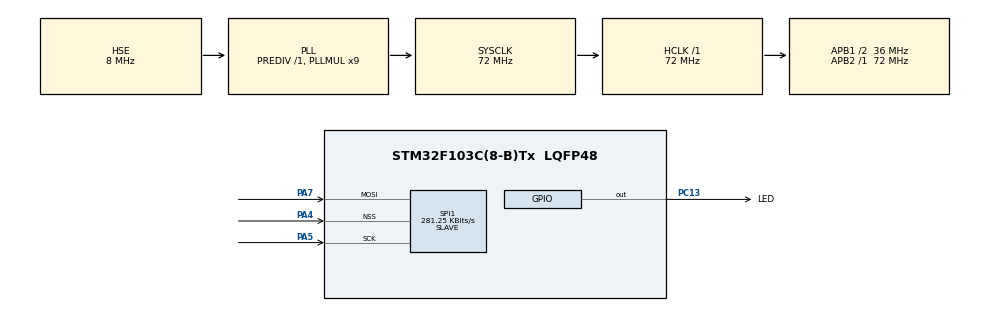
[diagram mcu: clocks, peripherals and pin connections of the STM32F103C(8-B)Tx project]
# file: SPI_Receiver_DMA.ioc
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Dma.Request0=SPI1_RX
Dma.SPI1_RX.0.Direction=DMA_PERIPH_TO_MEMORY
Dma.SPI1_RX.0.Instance=DMA1_Channel2
Dma.SPI1_RX.0.MemDataAlignment=DMA_MDATAALIGN_BYTE
Dma.SPI1_RX.0.MemInc=DMA_MINC_ENABLE
Dma.SPI1_RX.0.Mode=DMA_NORMAL
Dma.SPI1_RX.0.PeriphDataAlignment=DMA_PDATAALIGN_BYTE
Dma.SPI1_RX.0.PeriphInc=DMA_PINC_DISABLE
Dma.SPI1_RX.0.Priority=DMA_PRIORITY_LOW
Mcu.Family=STM32F1
Mcu.Name=STM32F103C(8-B)Tx
Mcu.Package=LQFP48
NVIC.DMA1_Channel2_IRQn=true\:0\:0\:false\:false\:true\:false\:true
NVIC.PriorityGroup=NVIC_PRIORITYGROUP_4
PA13.Mode=Serial_Wire
PA13.Signal=SYS_JTMS-SWDIO
PA14.Mode=Serial_Wire
PA14.Signal=SYS_JTCK-SWCLK
PA4.Mode=NSS_Signal_Hard_Input
PA4.Signal=SPI1_NSS
PA5.Mode=RX_Only_Simplex_Unidirect_Slave
PA5.Signal=SPI1_SCK
PA7.Mode=RX_Only_Simplex_Unidirect_Slave
PA7.Signal=SPI1_MOSI
PC13-TAMPER-RTC.GPIO_Label=LED
PC13-TAMPER-RTC.Signal=GPIO_Output
PD0-OSC_IN.Mode=HSE-External-Oscillator
PD0-OSC_IN.Signal=RCC_OSC_IN
PD1-OSC_OUT.Mode=HSE-External-Oscillator
PD1-OSC_OUT.Signal=RCC_OSC_OUT
ProjectManager.HeapSize=0x200
ProjectManager.StackSize=0x400
ProjectManager.TargetToolchain=STM32CubeIDE
RCC.AHBFreq_Value=72000000
RCC.APB1CLKDivider=RCC_HCLK_DIV2
RCC.APB1Freq_Value=36000000
RCC.APB1TimFreq_Value=72000000
RCC.APB2Freq_Value=72000000
RCC.APB2TimFreq_Value=72000000
RCC.HCLKFreq_Value=72000000
RCC.PLLMUL=RCC_PLL_MUL9
RCC.PLLSourceVirtual=RCC_PLLSOURCE_HSE
RCC.SYSCLKFreq_VALUE=72000000
RCC.SYSCLKSource=RCC_SYSCLKSOURCE_PLLCLK
RCC.USBFreq_Value=72000000
SPI1.BaudRatePrescaler=SPI_BAUDRATEPRESCALER_256
SPI1.CalculateBaudRate=281.25 KBits/s
SPI1.Direction=SPI_DIRECTION_2LINES_RXONLY
SPI1.Mode=SPI_MODE_SLAVE
SPI1.VirtualNSS=VM_NSSHARD
SPI1.VirtualType=VM_SLAVE
board=custom

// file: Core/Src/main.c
/* USER CODE BEGIN Header */
/**
  ******************************************************************************
  * @file           : main.c
  * @brief          : Main program body
  ******************************************************************************
  * @attention
  *
  * <h2><center>&copy; Copyright (c) 2021 STMicroelectronics.
  * All rights reserved.</center></h2>
  *
  * This software component is licensed by ST under BSD 3-Clause license,
  * the "License"; You may not use this file except in compliance with the
  * License. You may obtain a copy of the License at:
  *                        opensource.org/licenses/BSD-3-Clause
  *
  ******************************************************************************
  */
/* USER CODE END Header */
#include "main.h"

SPI_HandleTypeDef hspi1;
DMA_HandleTypeDef hdma_spi1_rx;

void SystemClock_Config(void);
static void MX_GPIO_Init(void);
static void MX_DMA_Init(void);
static void MX_SPI1_Init(void);

/* USER CODE BEGIN 0 */
void led_on()
{
  HAL_GPIO_WritePin(LED_GPIO_Port, LED_Pin, GPIO_PIN_RESET);
}

void led_off()
{
  HAL_GPIO_WritePin(LED_GPIO_Port, LED_Pin, GPIO_PIN_SET);
}

void led_toggle()
{
  HAL_GPIO_TogglePin(LED_GPIO_Port, LED_Pin);
}

long int count = 0;

void HAL_SPI_RxCpltCallback(SPI_HandleTypeDef *hspi)
{
  if(hspi == &hspi1)
  {
    led_toggle();
    count++;
  }
//  count++;
//  led_on();
//  led_toggle();
}
/* USER CODE END 0 */

int main(void)
{

  /* MCU Configuration--------------------------------------------------------*/

  /* Reset of all peripherals, Initializes the Flash interface and the Systick. */
  HAL_Init();

  /* Configure the system clock */
  SystemClock_Config();

  /* Initialize all configured peripherals */
  MX_GPIO_Init();
  MX_DMA_Init();
  MX_SPI1_Init();
  /* USER CODE BEGIN 2 */

  led_on();
  HAL_Delay(2000);
  led_off();
  HAL_Delay(1000);

  uint8_t data_rx = 0;

  HAL_SPI_Receive_DMA(&hspi1, &data_rx, sizeof(data_rx));
  /* USER CODE END 2 */

  /* Infinite loop */
  while (1)
  {

	  HAL_Delay(500);

  }
}

void SystemClock_Config(void)
{
  RCC_OscInitTypeDef RCC_OscInitStruct = {0};
  RCC_ClkInitTypeDef RCC_ClkInitStruct = {0};

  /** Initializes the RCC Oscillators according to the specified parameters
  * in the RCC_OscInitTypeDef structure.
  */
  RCC_OscInitStruct.OscillatorType = RCC_OSCILLATORTYPE_HSE;
  RCC_OscInitStruct.HSEState = RCC_HSE_ON;
  RCC_OscInitStruct.HSEPredivValue = RCC_HSE_PREDIV_DIV1;
  RCC_OscInitStruct.HSIState = RCC_HSI_ON;
  RCC_OscInitStruct.PLL.PLLState = RCC_PLL_ON;
  RCC_OscInitStruct.PLL.PLLSource = RCC_PLLSOURCE_HSE;
  RCC_OscInitStruct.PLL.PLLMUL = RCC_PLL_MUL9;
  if (HAL_RCC_OscConfig(&RCC_OscInitStruct) != HAL_OK)
  {
    Error_Handler();
  }
  /** Initializes the CPU, AHB and APB buses clocks
  */
  RCC_ClkInitStruct.ClockType = RCC_CLOCKTYPE_HCLK|RCC_CLOCKTYPE_SYSCLK
                              |RCC_CLOCKTYPE_PCLK1|RCC_CLOCKTYPE_PCLK2;
  RCC_ClkInitStruct.SYSCLKSource = RCC_SYSCLKSOURCE_PLLCLK;
  RCC_ClkInitStruct.AHBCLKDivider = RCC_SYSCLK_DIV1;
  RCC_ClkInitStruct.APB1CLKDivider = RCC_HCLK_DIV2;
  RCC_ClkInitStruct.APB2CLKDivider = RCC_HCLK_DIV1;

  if (HAL_RCC_ClockConfig(&RCC_ClkInitStruct, FLASH_LATENCY_2) != HAL_OK)
  {
    Error_Handler();
  }
}

static void MX_SPI1_Init(void)
{

  /* SPI1 parameter configuration*/
  hspi1.Instance = SPI1;
  hspi1.Init.Mode = SPI_MODE_SLAVE;
  hspi1.Init.Direction = SPI_DIRECTION_2LINES_RXONLY;
  hspi1.Init.DataSize = SPI_DATASIZE_8BIT;
  hspi1.Init.CLKPolarity = SPI_POLARITY_LOW;
  hspi1.Init.CLKPhase = SPI_PHASE_1EDGE;
  hspi1.Init.NSS = SPI_NSS_HARD_INPUT;
  hspi1.Init.BaudRatePrescaler = SPI_BAUDRATEPRESCALER_256;
  hspi1.Init.FirstBit = SPI_FIRSTBIT_MSB;
  hspi1.Init.TIMode = SPI_TIMODE_DISABLE;
  hspi1.Init.CRCCalculation = SPI_CRCCALCULATION_DISABLE;
  hspi1.Init.CRCPolynomial = 10;
  if (HAL_SPI_Init(&hspi1) != HAL_OK)
  {
    Error_Handler();
  }

}

static void MX_DMA_Init(void)
{

  /* DMA controller clock enable */
  __HAL_RCC_DMA1_CLK_ENABLE();

  /* DMA interrupt init */
  /* DMA1_Channel2_IRQn interrupt configuration */
  HAL_NVIC_SetPriority(DMA1_Channel2_IRQn, 0, 0);
  HAL_NVIC_EnableIRQ(DMA1_Channel2_IRQn);

}

static void MX_GPIO_Init(void)
{
  GPIO_InitTypeDef GPIO_InitStruct = {0};

  /* GPIO Ports Clock Enable */
  __HAL_RCC_GPIOC_CLK_ENABLE();
  __HAL_RCC_GPIOD_CLK_ENABLE();
  __HAL_RCC_GPIOA_CLK_ENABLE();

  /*Configure GPIO pin Output Level */
  HAL_GPIO_WritePin(LED_GPIO_Port, LED_Pin, GPIO_PIN_RESET);

  /*Configure GPIO pin : LED_Pin */
  GPIO_InitStruct.Pin = LED_Pin;
  GPIO_InitStruct.Mode = GPIO_MODE_OUTPUT_PP;
  GPIO_InitStruct.Pull = GPIO_NOPULL;
  GPIO_InitStruct.Speed = GPIO_SPEED_FREQ_LOW;
  HAL_GPIO_Init(LED_GPIO_Port, &GPIO_InitStruct);

}

void Error_Handler(void)
{
  __disable_irq();
  while (1)
  {
  }
}

/************************ (C) COPYRIGHT STMicroelectronics *****END OF FILE****/
